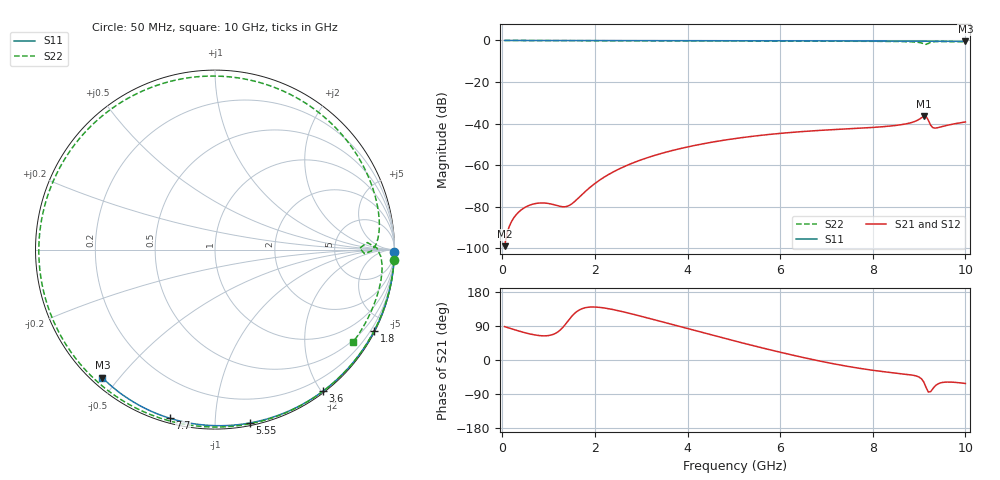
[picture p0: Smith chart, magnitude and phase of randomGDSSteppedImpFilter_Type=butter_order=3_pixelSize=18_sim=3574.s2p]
! freq	dB(S11)	phase(S11)	dB(S12)	phase(S12)
!  dB(S21)	phase(S21)	dB(S22)	phase(S22)
!S-par simulation data
#  GHz  S  DB  R 50
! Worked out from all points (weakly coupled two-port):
!   200 points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, 50 MHz to 10 GHz, reference 50 ohm
!   highest |S21| = -36.45 dB at 9.1 GHz (marker M1); lowest = -98.9 dB at 50 MHz (marker M2)
!   lowest |S11| = -0.4 dB at 10 GHz (marker M3), VSWR 39.23, Z = 1.54 - j22.6 ohm
!   |S11| at or under -10 dB: nowhere
!   |S22| runs from -1.9 to 0.0 dB; largest |S21 - S12| = 0
!   S11 on the Smith chart (normalised r, x): 50 MHz: open; 1.8 GHz: 0.04, -4.18; 3.6 GHz: 0.02, -2.02; 5.55 GHz: 0.02, -1.22; 7.7 GHz: 0.02, -0.77; 10 GHz: 0.03, -0.45
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0.05  -0.00 -0.8  -98.89 88.1  -98.89 88.1  -0.00 -3.3
0.45  -0.01 -6.8  -80.80 73.2  -80.80 73.2  -0.04 -28.8
0.9  -0.02 -13.6  -78.14 63.8  -78.14 63.8  -0.07 -56.0
1.4  -0.03 -21.0  -79.74 100.0  -79.74 100.0  -0.09 -83.4
1.75  -0.03 -26.2  -73.48 136.6  -73.48 136.6  -0.11 -100.6
1.8  -0.03 -26.9  -72.45 138.2  -72.45 138.2  -0.11 -103.0
2.15  -0.04 -32.0  -66.43 138.2  -66.43 138.2  -0.12 -118.6
2.6  -0.05 -38.5  -60.96 127.5  -60.96 127.5  -0.13 -136.8
3.4  -0.07 -49.8  -54.53 102.4  -54.53 102.4  -0.15 -165.7
3.6  -0.07 -52.6  -53.31 95.9  -53.31 95.9  -0.15 -172.4
4.3  -0.09 -62.2  -49.82 73.1  -49.82 73.1  -0.18 165.0
5.05  -0.11 -72.1  -47.09 49.2  -47.09 49.2  -0.21 141.5
5.55  -0.13 -78.6  -45.69 33.8  -45.69 33.8  -0.23 125.8
6.7  -0.18 -93.0  -43.46 1.2  -43.46 1.2  -0.30 88.1
7.7  -0.24 -105.0  -42.20 -21.7  -42.20 -21.7  -0.37 52.8
8.35  -0.29 -112.5  -41.20 -32.6  -41.20 -32.6  -0.46 28.4
8.85  -0.33 -118.3  -39.37 -39.9  -39.37 -39.9  -0.67 8.2
9.1  -0.35 -121.1  -36.45 -57.8  -36.45 -57.8  -1.59 -1.5
9.2  -0.36 -122.2  -38.37 -84.6  -38.37 -84.6  -1.42 2.7
9.25  -0.36 -122.8  -40.77 -83.5  -40.77 -83.5  -0.90 0.6
9.35  -0.37 -124.0  -42.14 -68.1  -42.14 -68.1  -0.58 -5.4
10  -0.44 -131.3  -39.17 -61.9  -39.17 -61.9  -0.66 -33.8
